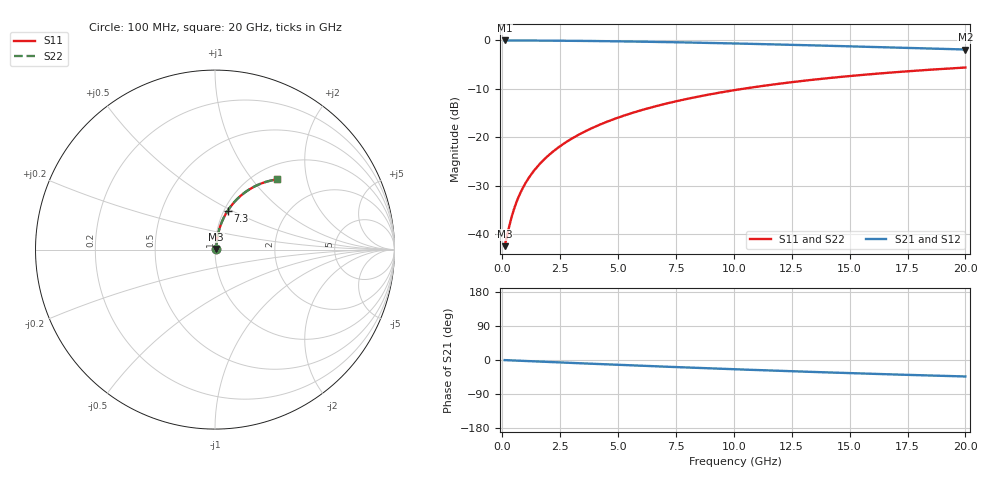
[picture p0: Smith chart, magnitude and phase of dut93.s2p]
! Touchstone file exported from HFSS 2024.1.0
!  File:  C:/UserFiles/LocalFiles/RDL_TSV_Batchsim/temp_RDL_bottom_93_1778694870.aedt
!  Generated:  01:57:10 AM May 14, 2026
!  Design:  RDL_bottom
!  Project:  temp_RDL_bottom_93_1778694870
!  Setup:  Setup1
!  Solution:  Sweep
! Variables:
!  dtsv = 10.80580581um
!  hbump = 3um
!  htsv = 70.19um
!  ldown = 514.16um
!  lrdl = 100um
!  p = 40
!  p1 = 53.39um
!  rhole = 1um
!  t = 450um
!  tdown = 2.65um
!  trdl = 3.915915916um
!  wdown = 10.26um
!  wrdl = 20um
# GHz S MA R 50.000000
! Terminal data exported
! Port[1] = RDL1_T1
! Port[2] = RDL1_T2
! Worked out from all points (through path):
!   200 points, 100 MHz to 20 GHz, reference 50 ohm
!   highest |S21| = -0.06 dB at 100 MHz (marker M1); lowest = -1.9 dB at 20 GHz (marker M2)
!   group delay of S21, straight-line fit = 6.06 ps
!   lowest |S11| = -42.5 dB at 100 MHz (marker M3), VSWR 1.02, Z = 50.7 + j0.334 ohm
!   |S11| at or under -10 dB: start of sweep to 10.44 GHz
!   |S22| runs from -42.5 to -5.6 dB; largest |S21 - S12| = 3.5e-15
!   S11 on the Smith chart (normalised r, x): 100 MHz: 1.01, +0.01; 7.3 GHz: 1.04, +0.48; 20 GHz: 1.25, +1.35
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0.1  0.007506 26.1  0.9933 -0.3  0.9933 -0.3  0.007506 26.1
! Gamma 0 0 0 0
! Port Impedance 50 0 50 0
0.3  0.01206 54.9  0.9931 -0.8  0.9931 -0.8  0.01206 54.9
0.4  0.01492 61.7  0.993 -1.1  0.993 -1.1  0.01492 61.7
0.5  0.01792 66.1  0.9928 -1.3  0.9928 -1.3  0.01792 66.1
0.6  0.02098 69.1  0.9927 -1.6  0.9927 -1.6  0.02098 69.1
0.7  0.02408 71.3  0.9925 -1.8  0.9925 -1.8  0.02408 71.3
0.9  0.03033 74.2  0.9921 -2.4  0.9921 -2.4  0.03033 74.2
1.2  0.03975 76.6  0.9914 -3.1  0.9914 -3.1  0.03975 76.6
1.4  0.04605 77.5  0.9909 -3.6  0.9909 -3.6  0.04605 77.5
1.7  0.05551 78.4  0.9901 -4.4  0.9901 -4.4  0.05551 78.4
2.2  0.07128 78.9  0.9885 -5.7  0.9885 -5.7  0.07128 78.9
2.8  0.09021 78.9  0.986 -7.2  0.986 -7.2  0.09021 78.9
3.5  0.1122 78.3  0.9826 -9.0  0.9826 -9.0  0.1122 78.3
4.2  0.1341 77.3  0.9785 -10.7  0.9785 -10.7  0.1341 77.4
5  0.1589 76.1  0.9731 -12.7  0.9731 -12.7  0.1589 76.1
6.8  0.2135 72.8  0.9583 -17.0  0.9583 -17.0  0.2135 72.8
7.3  0.2283 71.9  0.9536 -18.2  0.9536 -18.2  0.2283 71.9
8.6  0.2658 69.3  0.9405 -21.2  0.9405 -21.2  0.2658 69.3
10.1  0.3072 66.3  0.924 -24.6  0.924 -24.6  0.3072 66.4
13.4  0.3904 60.0  0.8843 -31.5  0.8843 -31.5  0.3904 60.0
16.7  0.4619 54.0  0.8425 -37.8  0.8425 -37.8  0.462 54.0
20  0.5222 48.5  0.8011 -43.5  0.8011 -43.5  0.5223 48.5
